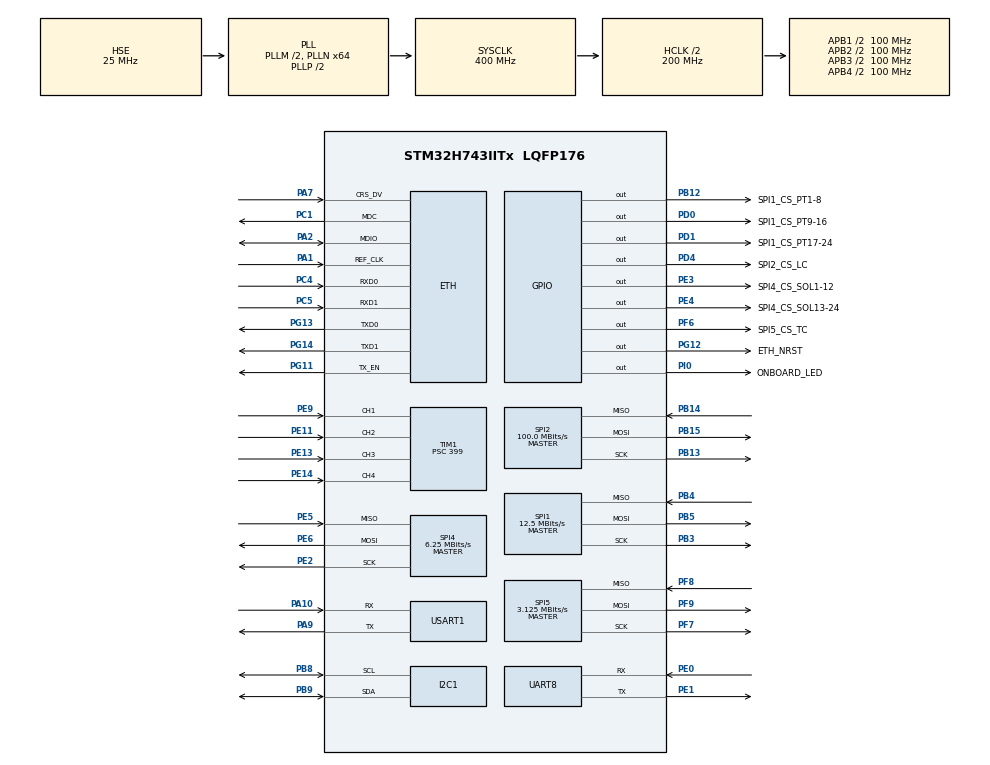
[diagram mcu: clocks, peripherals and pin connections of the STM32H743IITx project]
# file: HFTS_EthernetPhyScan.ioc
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CORTEX_M7.AccessPermission-Cortex_Memory_Protection_Unit_Region0_Settings=MPU_REGION_FULL_ACCESS
CORTEX_M7.AccessPermission-Cortex_Memory_Protection_Unit_Region1_Settings=MPU_REGION_FULL_ACCESS
CORTEX_M7.BaseAddress-Cortex_Memory_Protection_Unit_Region0_Settings=0x30000000
CORTEX_M7.BaseAddress-Cortex_Memory_Protection_Unit_Region1_Settings=0x30040000
CORTEX_M7.CPU_DCache=Enabled
CORTEX_M7.CPU_ICache=Enabled
CORTEX_M7.Enable-Cortex_Memory_Protection_Unit_Region0_Settings=MPU_REGION_ENABLE
CORTEX_M7.Enable-Cortex_Memory_Protection_Unit_Region1_Settings=MPU_REGION_ENABLE
CORTEX_M7.IsBufferable-Cortex_Memory_Protection_Unit_Region0_Settings=MPU_ACCESS_BUFFERABLE
CORTEX_M7.IsShareable-Cortex_Memory_Protection_Unit_Region1_Settings=MPU_ACCESS_SHAREABLE
CORTEX_M7.MPU_Control=MPU_PRIVILEGED_DEFAULT
CORTEX_M7.Size-Cortex_Memory_Protection_Unit_Region0_Settings=MPU_REGION_SIZE_256B
CORTEX_M7.Size-Cortex_Memory_Protection_Unit_Region1_Settings=MPU_REGION_SIZE_16KB
CORTEX_M7.TypeExtField-Cortex_Memory_Protection_Unit_Region1_Settings=MPU_TEX_LEVEL1
ETH.MACAddr=02\:12\:34\:56\:78\:9A
ETH.MediaInterface=HAL_ETH_RMII_MODE
I2C1.Timing=0x10C0ECFF
LWIP.BSP.number=1
LWIP.IP_ADDRESS=192.168.001.002
LWIP.LWIP_DHCP=0
LWIP.LWIP_MPU_COMPATIBLE=0
LWIP.MEM_SIZE=14000
LWIP.NETMASK_ADDRESS=255.255.255.000
LWIP.Version=v2.1.2_Cube
LWIP0.BSP.STBoard=false
LWIP0.BSP.api=BSP_COMPONENT_DRIVER
LWIP0.BSP.component=USER_PHY
LWIP0.BSP.instance=USER_PHY
LWIP0.BSP.name=Driver_PHY
LWIP0.BSP.semaphore=S_USER_PHY
LWIP0.BSP.solution=USER_PHY
Mcu.Family=STM32H7
Mcu.Name=STM32H743IITx
Mcu.Package=LQFP176
Mcu.UserConstants=I2C1_BUS_HZ,100000;TMP117_ADDRESS,0b1001000x
NVIC.PriorityGroup=NVIC_PRIORITYGROUP_4
NVIC.TIM1_CC_IRQn=true\:0\:0\:false\:false\:true\:true\:true\:true
PA1.Mode=RMII
PA1.Signal=ETH_REF_CLK
PA10.Mode=Asynchronous
PA10.Signal=USART1_RX
PA13\ (JTMS/SWDIO).Mode=Serial_Wire
PA13\ (JTMS/SWDIO).Signal=DEBUG_JTMS-SWDIO
PA14\ (JTCK/SWCLK).Mode=Serial_Wire
PA14\ (JTCK/SWCLK).Signal=DEBUG_JTCK-SWCLK
PA2.Mode=RMII
PA2.Signal=ETH_MDIO
PA7.Mode=RMII
PA7.Signal=ETH_CRS_DV
PA9.Mode=Asynchronous
PA9.Signal=USART1_TX
PB12.GPIO_Label=SPI1_CS_PT1-8
PB12.PinState=GPIO_PIN_SET
PB12.Signal=GPIO_Output
PB13.Mode=Full_Duplex_Master
PB13.Signal=SPI2_SCK
PB14.Mode=Full_Duplex_Master
PB14.Signal=SPI2_MISO
PB15.Mode=Full_Duplex_Master
PB15.Signal=SPI2_MOSI
PB3\ (JTDO/TRACESWO).Mode=Full_Duplex_Master
PB3\ (JTDO/TRACESWO).Signal=SPI1_SCK
PB4\ (NJTRST).Mode=Full_Duplex_Master
PB4\ (NJTRST).Signal=SPI1_MISO
PB5.Mode=Full_Duplex_Master
PB5.Signal=SPI1_MOSI
PB8.Mode=I2C
PB8.Signal=I2C1_SCL
PB9.Mode=I2C
PB9.Signal=I2C1_SDA
PC1.Mode=RMII
PC1.Signal=ETH_MDC
PC4.Mode=RMII
PC4.Signal=ETH_RXD0
PC5.Mode=RMII
PC5.Signal=ETH_RXD1
PD0.GPIO_Label=SPI1_CS_PT9-16
PD0.PinState=GPIO_PIN_SET
PD0.Signal=GPIO_Output
PD1.GPIO_Label=SPI1_CS_PT17-24
PD1.PinState=GPIO_PIN_SET
PD1.Signal=GPIO_Output
PD4.GPIO_Label=SPI2_CS_LC
PD4.PinState=GPIO_PIN_SET
PD4.Signal=GPIO_Output
PE0.Mode=Asynchronous
PE0.Signal=UART8_RX
PE1.Mode=Asynchronous
PE1.Signal=UART8_TX
PE11.Signal=S_TIM1_CH2
PE13.Signal=S_TIM1_CH3
PE14.Signal=S_TIM1_CH4
PE2.Mode=Full_Duplex_Master
PE2.Signal=SPI4_SCK
PE3.GPIO_Label=SPI4_CS_SOL1-12
PE3.PinState=GPIO_PIN_SET
PE3.Signal=GPIO_Output
PE4.GPIO_Label=SPI4_CS_SOL13-24
PE4.PinState=GPIO_PIN_SET
PE4.Signal=GPIO_Output
PE5.Mode=Full_Duplex_Master
PE5.Signal=SPI4_MISO
PE6.Mode=Full_Duplex_Master
PE6.Signal=SPI4_MOSI
PE9.Signal=S_TIM1_CH1
PF6.GPIO_Label=SPI5_CS_TC
PF6.PinState=GPIO_PIN_SET
PF6.Signal=GPIO_Output
PF7.Mode=Full_Duplex_Master
PF7.Signal=SPI5_SCK
PF8.Mode=Full_Duplex_Master
PF8.Signal=SPI5_MISO
PF9.Mode=Full_Duplex_Master
PF9.Signal=SPI5_MOSI
PG11.Mode=RMII
PG11.Signal=ETH_TX_EN
PG12.GPIO_Label=ETH_NRST
PG12.Signal=GPIO_Output
PG13.Mode=RMII
PG13.Signal=ETH_TXD0
PG14.Mode=RMII
PG14.Signal=ETH_TXD1
PH0-OSC_IN\ (PH0).Mode=HSE-External-Oscillator
PH0-OSC_IN\ (PH0).Signal=RCC_OSC_IN
PH1-OSC_OUT\ (PH1).Mode=HSE-External-Oscillator
PH1-OSC_OUT\ (PH1).Signal=RCC_OSC_OUT
PI0.GPIO_Label=ONBOARD_LED
PI0.Signal=GPIO_Output
ProjectManager.HeapSize=0x200
ProjectManager.StackSize=0x400
ProjectManager.TargetToolchain=STM32CubeIDE
RCC.ADCFreq_Value=50000000
RCC.APB1Freq_Value=100000000
RCC.APB2Freq_Value=100000000
RCC.APB3Freq_Value=100000000
RCC.APB4Freq_Value=100000000
RCC.CortexFreq_Value=400000000
RCC.D1PPRE=RCC_APB3_DIV2
RCC.D2PPRE1=RCC_APB1_DIV2
RCC.D2PPRE2=RCC_APB2_DIV2
RCC.D3PPRE=RCC_APB4_DIV2
RCC.DIVM1=2
RCC.DIVM2=2
RCC.DIVN1=64
RCC.DIVN2=16
RCC.DIVP2=4
RCC.DIVQ1=4
RCC.DIVQ2=4
RCC.HCLKFreq_Value=200000000
RCC.HPRE=RCC_HCLK_DIV2
RCC.PLL2FRACN=0
RCC.PLL3FRACN=0
RCC.PLLFRACN=0
RCC.PLLSourceVirtual=RCC_PLLSOURCE_HSE
RCC.SYSCLKFreq_VALUE=400000000
RCC.SYSCLKSource=RCC_SYSCLKSOURCE_PLLCLK
RCC.Spi45ClockSelection=RCC_SPI45CLKSOURCE_PLL2
RCC.USBFreq_Value=200000000
SH.S_TIM1_CH1.0=TIM1_CH1,Input_Capture1_from_TI1
SH.S_TIM1_CH2.0=TIM1_CH2,Input_Capture2_from_TI2
SH.S_TIM1_CH3.0=TIM1_CH3,Input_Capture3_from_TI3
SH.S_TIM1_CH4.0=TIM1_CH4,Input_Capture4_from_TI4
SPI1.BaudRatePrescaler=SPI_BAUDRATEPRESCALER_16
SPI1.CalculateBaudRate=12.5 MBits/s
SPI1.Direction=SPI_DIRECTION_2LINES
SPI1.Mode=SPI_MODE_MASTER
SPI1.VirtualType=VM_MASTER
SPI2.CalculateBaudRate=100.0 MBits/s
SPI2.Direction=SPI_DIRECTION_2LINES
SPI2.Mode=SPI_MODE_MASTER
SPI2.VirtualType=VM_MASTER
SPI4.BaudRatePrescaler=SPI_BAUDRATEPRESCALER_8
SPI4.CalculateBaudRate=6.25 MBits/s
SPI4.Direction=SPI_DIRECTION_2LINES
SPI4.Mode=SPI_MODE_MASTER
SPI4.VirtualType=VM_MASTER
SPI5.BaudRatePrescaler=SPI_BAUDRATEPRESCALER_16
SPI5.CalculateBaudRate=3.125 MBits/s
SPI5.Direction=SPI_DIRECTION_2LINES
SPI5.Mode=SPI_MODE_MASTER
SPI5.VirtualType=VM_MASTER
TIM1.Channel-Input_Capture1_from_TI1=TIM_CHANNEL_1
TIM1.Channel-Input_Capture2_from_TI2=TIM_CHANNEL_2
TIM1.Channel-Input_Capture3_from_TI3=TIM_CHANNEL_3
TIM1.Channel-Input_Capture4_from_TI4=TIM_CHANNEL_4
TIM1.ICFilter_CH1=2
TIM1.Prescaler=399
USART1.VirtualMode-Asynchronous=VM_ASYNC
VP_LWIP_VS_Enabled.Mode=Enabled
VP_MEMORYMAP_VS_MEMORYMAP.Mode=CurAppReg
VP_TIM1_VS_ClockSourceINT.Mode=Internal
board=custom

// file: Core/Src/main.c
/* USER CODE BEGIN Header */
/**
  ******************************************************************************
  * @file           : main.c
  * @brief          : Main program body
  ******************************************************************************
  * @attention
  *
  * Copyright (c) 2026 STMicroelectronics.
  * All rights reserved.
  *
  * This software is licensed under terms that can be found in the LICENSE file
  * in the root directory of this software component.
  * If no LICENSE file comes with this software, it is provided AS-IS.
  *
  ******************************************************************************
  */
/* USER CODE END Header */
#include "main.h"
#include "lwip.h"

I2C_HandleTypeDef hi2c1;

SPI_HandleTypeDef hspi1;
SPI_HandleTypeDef hspi2;
SPI_HandleTypeDef hspi4;
SPI_HandleTypeDef hspi5;

TIM_HandleTypeDef htim1;

UART_HandleTypeDef huart8;
UART_HandleTypeDef huart1;

/* USER CODE BEGIN PV */
ETH_HandleTypeDef heth_mdio_test;

typedef struct
{
  uint32_t init_status;
  uint32_t swr_timeout;
  uint32_t hclk_hz;
  uint32_t dmamr_after_swr_set;
  uint32_t dmamr_after_swr_wait;
  uint32_t macmdioar_after_clk_cfg;

  uint32_t candidate_mask;
  uint32_t ksz8081_mask;
  int32_t  first_candidate_addr;

  uint32_t reg2[32];
  uint32_t reg3[32];
  uint32_t reg17[32];
  uint32_t reg0[32];
  uint32_t reg1a[32];
  uint32_t reg1b[32];

  uint32_t reg1e[32];
  uint32_t reg1f[32];
  uint32_t stat1e[32];
  uint32_t stat1f[32];

  uint32_t stat2[32];
  uint32_t stat3[32];
  uint32_t stat17[32];
  uint32_t stat0[32];
  uint32_t stat1a[32];
  uint32_t stat1b[32];
} ETH_PHY_Debug_t;

volatile ETH_PHY_Debug_t gPhyDbg;

extern struct netif gnetif;
/* USER CODE END PV */

void SystemClock_Config(void);
void PeriphCommonClock_Config(void);
static void MPU_Config(void);
static void MX_GPIO_Init(void);
static void MX_TIM1_Init(void);
static void MX_I2C1_Init(void);
static void MX_SPI1_Init(void);
static void MX_SPI2_Init(void);
static void MX_SPI4_Init(void);
static void MX_SPI5_Init(void);
static void MX_UART8_Init(void);
static void MX_USART1_UART_Init(void);
/* USER CODE BEGIN PFP */
static void ETH_PHY_ResetPulse(void);
static HAL_StatusTypeDef ETH_MDIO_MinimalInit(void);
static void ETH_PHY_ScanAll(void);
/* USER CODE END PFP */

/* USER CODE BEGIN 0 */
static void ETH_PHY_ResetPulse(void)
{
  HAL_GPIO_WritePin(ETH_NRST_GPIO_Port, ETH_NRST_Pin, GPIO_PIN_RESET);
  HAL_Delay(2);   // comfortably longer than the PHY minimum reset pulse
  HAL_GPIO_WritePin(ETH_NRST_GPIO_Port, ETH_NRST_Pin, GPIO_PIN_SET);
  HAL_Delay(2);   // give straps / PHY state time to settle before MDIO access
}

static HAL_StatusTypeDef ETH_MDIO_MinimalInit(void)
{
  heth_mdio_test.Instance = ETH;
  heth_mdio_test.Init.MediaInterface = HAL_ETH_RMII_MODE;

  /* If your project has a real HAL_ETH_MspInit() in stm32h7xx_hal_msp.c,
     this should configure ETH GPIOs (MDC/MDIO/RMII pins) and clocks.
     If that function is still weak/empty, this call does nothing. */
  HAL_ETH_MspInit(&heth_mdio_test);

  __HAL_RCC_ETH1MAC_CLK_ENABLE();
  __HAL_RCC_ETH1TX_CLK_ENABLE();
  __HAL_RCC_ETH1RX_CLK_ENABLE();
  __HAL_RCC_SYSCFG_CLK_ENABLE();

  HAL_SYSCFG_ETHInterfaceSelect(SYSCFG_ETH_RMII);
  (void)SYSCFG->PMCR;

  /* Software reset of ETH MAC/DMA block */
  SET_BIT(ETH->DMAMR, ETH_DMAMR_SWR);
  gPhyDbg.dmamr_after_swr_set = ETH->DMAMR;

  uint32_t t0 = HAL_GetTick();
  while (READ_BIT(ETH->DMAMR, ETH_DMAMR_SWR) != 0U)
  {
    if ((HAL_GetTick() - t0) > 1000U)
    {
      gPhyDbg.swr_timeout = 1U;
      gPhyDbg.dmamr_after_swr_wait = ETH->DMAMR;
      return HAL_TIMEOUT;
    }
  }

  gPhyDbg.dmamr_after_swr_wait = ETH->DMAMR;
  gPhyDbg.hclk_hz = HAL_RCC_GetHCLKFreq();

  HAL_ETH_SetMDIOClockRange(&heth_mdio_test);
  gPhyDbg.macmdioar_after_clk_cfg = ETH->MACMDIOAR;

  return HAL_OK;
}

static void ETH_PHY_ScanAll(void)
{
  uint32_t val;
  uint32_t addr;

  gPhyDbg.first_candidate_addr = -1;
  gPhyDbg.candidate_mask = 0U;
  gPhyDbg.ksz8081_mask = 0U;

  for (addr = 0; addr < 32; addr++)
  {
    gPhyDbg.stat2[addr] = HAL_ETH_ReadPHYRegister(&heth_mdio_test, addr, 2, &val);
    gPhyDbg.reg2[addr] = val & 0xFFFFU;

    /* Only treat it as a real candidate if reg2 is sane */
    if ((gPhyDbg.stat2[addr] == HAL_OK) &&
        (gPhyDbg.reg2[addr] != 0x0000U) &&
        (gPhyDbg.reg2[addr] != 0xFFFFU))
    {
      gPhyDbg.candidate_mask |= (1UL << addr);

      if (gPhyDbg.first_candidate_addr < 0)
      {
        gPhyDbg.first_candidate_addr = (int32_t)addr;
      }

      if (gPhyDbg.reg2[addr] == 0x0022U)
      {
        gPhyDbg.ksz8081_mask |= (1UL << addr);
      }

      gPhyDbg.stat3[addr]  = HAL_ETH_ReadPHYRegister(&heth_mdio_test, addr, 3,  &val);
      gPhyDbg.reg3[addr]   = val & 0xFFFFU;

      gPhyDbg.stat17[addr] = HAL_ETH_ReadPHYRegister(&heth_mdio_test, addr, 17, &val);
      gPhyDbg.reg17[addr]  = val & 0xFFFFU;

      gPhyDbg.stat0[addr]  = HAL_ETH_ReadPHYRegister(&heth_mdio_test, addr, 0,  &val);
      gPhyDbg.reg0[addr]   = val & 0xFFFFU;

      /* Read BMSR twice */
      gPhyDbg.stat1a[addr] = HAL_ETH_ReadPHYRegister(&heth_mdio_test, addr, 1,  &val);
      gPhyDbg.reg1a[addr]  = val & 0xFFFFU;

      gPhyDbg.stat1b[addr] = HAL_ETH_ReadPHYRegister(&heth_mdio_test, addr, 1,  &val);
      gPhyDbg.reg1b[addr]  = val & 0xFFFFU;

      gPhyDbg.stat1e[addr] = HAL_ETH_ReadPHYRegister(&heth_mdio_test, addr, 0x1E, &val);
      gPhyDbg.reg1e[addr]  = val & 0xFFFFU;

      gPhyDbg.stat1f[addr] = HAL_ETH_ReadPHYRegister(&heth_mdio_test, addr, 0x1F, &val);
      gPhyDbg.reg1f[addr]  = val & 0xFFFFU;
    }
    else
    {
      gPhyDbg.stat3[addr]  = 0xFFFFFFFFU;
      gPhyDbg.stat17[addr] = 0xFFFFFFFFU;
      gPhyDbg.stat0[addr]  = 0xFFFFFFFFU;
      gPhyDbg.stat1a[addr] = 0xFFFFFFFFU;
      gPhyDbg.stat1b[addr] = 0xFFFFFFFFU;

      gPhyDbg.reg3[addr]   = 0U;
      gPhyDbg.reg17[addr]  = 0U;
      gPhyDbg.reg0[addr]   = 0U;
      gPhyDbg.reg1a[addr]  = 0U;
      gPhyDbg.reg1b[addr]  = 0U;
    }
  }
}
/* USER CODE END 0 */

int main(void)
{

  /* MPU Configuration--------------------------------------------------------*/
  MPU_Config();

  /* Enable the CPU Cache */

  /* Enable I-Cache---------------------------------------------------------*/
  //SCB_EnableICache();

  /* Enable D-Cache---------------------------------------------------------*/
  //SCB_EnableDCache();

  /* MCU Configuration--------------------------------------------------------*/

  /* Reset of all peripherals, Initializes the Flash interface and the Systick. */
  HAL_Init();

  /* Configure the system clock */
  SystemClock_Config();

  /* Configure the peripherals common clocks */
  PeriphCommonClock_Config();

  /* Initialize all configured peripherals */
  MX_GPIO_Init();
  MX_TIM1_Init();
  MX_I2C1_Init();
  MX_SPI1_Init();
  MX_SPI2_Init();
  MX_SPI4_Init();
  MX_SPI5_Init();
  MX_UART8_Init();
  MX_USART1_UART_Init();
  /* USER CODE BEGIN 2 */
  /* USER CODE BEGIN 2 */

  /* Keep PHY in reset until all basic GPIO/clock init is done */
  ETH_PHY_ResetPulse();

  MX_LWIP_Init();

  gPhyDbg.init_status = ETH_MDIO_MinimalInit();

  if (gPhyDbg.init_status == HAL_OK)
  {
    ETH_PHY_ScanAll();
  }

  /* USER CODE END 2 */
  /* USER CODE END 2 */

  /* Infinite loop */
  while (1)
  {

    /* USER CODE BEGIN 3 */

	  ethernetif_input(&gnetif);
	  sys_check_timeouts();
	  ethernet_link_check_state(&gnetif);
	  HAL_Delay(1);
  }
  /* USER CODE END 3 */
}

void SystemClock_Config(void)
{
  RCC_OscInitTypeDef RCC_OscInitStruct = {0};
  RCC_ClkInitTypeDef RCC_ClkInitStruct = {0};

  /** Supply configuration update enable
  */
  HAL_PWREx_ConfigSupply(PWR_LDO_SUPPLY);

  /** Configure the main internal regulator output voltage
  */
  __HAL_PWR_VOLTAGESCALING_CONFIG(PWR_REGULATOR_VOLTAGE_SCALE1);

  while(!__HAL_PWR_GET_FLAG(PWR_FLAG_VOSRDY)) {}

  /** Initializes the RCC Oscillators according to the specified parameters
  * in the RCC_OscInitTypeDef structure.
  */
  RCC_OscInitStruct.OscillatorType = RCC_OSCILLATORTYPE_HSE;
  RCC_OscInitStruct.HSEState = RCC_HSE_ON;
  RCC_OscInitStruct.PLL.PLLState = RCC_PLL_ON;
  RCC_OscInitStruct.PLL.PLLSource = RCC_PLLSOURCE_HSE;
  RCC_OscInitStruct.PLL.PLLM = 2;
  RCC_OscInitStruct.PLL.PLLN = 64;
  RCC_OscInitStruct.PLL.PLLP = 2;
  RCC_OscInitStruct.PLL.PLLQ = 4;
  RCC_OscInitStruct.PLL.PLLR = 2;
  RCC_OscInitStruct.PLL.PLLRGE = RCC_PLL1VCIRANGE_3;
  RCC_OscInitStruct.PLL.PLLVCOSEL = RCC_PLL1VCOWIDE;
  RCC_OscInitStruct.PLL.PLLFRACN = 0;
  if (HAL_RCC_OscConfig(&RCC_OscInitStruct) != HAL_OK)
  {
    Error_Handler();
  }

  /** Initializes the CPU, AHB and APB buses clocks
  */
  RCC_ClkInitStruct.ClockType = RCC_CLOCKTYPE_HCLK|RCC_CLOCKTYPE_SYSCLK
                              |RCC_CLOCKTYPE_PCLK1|RCC_CLOCKTYPE_PCLK2
                              |RCC_CLOCKTYPE_D3PCLK1|RCC_CLOCKTYPE_D1PCLK1;
  RCC_ClkInitStruct.SYSCLKSource = RCC_SYSCLKSOURCE_PLLCLK;
  RCC_ClkInitStruct.SYSCLKDivider = RCC_SYSCLK_DIV1;
  RCC_ClkInitStruct.AHBCLKDivider = RCC_HCLK_DIV2;
  RCC_ClkInitStruct.APB3CLKDivider = RCC_APB3_DIV2;
  RCC_ClkInitStruct.APB1CLKDivider = RCC_APB1_DIV2;
  RCC_ClkInitStruct.APB2CLKDivider = RCC_APB2_DIV2;
  RCC_ClkInitStruct.APB4CLKDivider = RCC_APB4_DIV2;

  if (HAL_RCC_ClockConfig(&RCC_ClkInitStruct, FLASH_LATENCY_2) != HAL_OK)
  {
    Error_Handler();
  }
}

void PeriphCommonClock_Config(void)
{
  RCC_PeriphCLKInitTypeDef PeriphClkInitStruct = {0};

  /** Initializes the peripherals clock
  */
  PeriphClkInitStruct.PeriphClockSelection = RCC_PERIPHCLK_SPI4|RCC_PERIPHCLK_SPI5;
  PeriphClkInitStruct.PLL2.PLL2M = 2;
  PeriphClkInitStruct.PLL2.PLL2N = 16;
  PeriphClkInitStruct.PLL2.PLL2P = 4;
  PeriphClkInitStruct.PLL2.PLL2Q = 4;
  PeriphClkInitStruct.PLL2.PLL2R = 2;
  PeriphClkInitStruct.PLL2.PLL2RGE = RCC_PLL2VCIRANGE_3;
  PeriphClkInitStruct.PLL2.PLL2VCOSEL = RCC_PLL2VCOWIDE;
  PeriphClkInitStruct.PLL2.PLL2FRACN = 0;
  PeriphClkInitStruct.Spi45ClockSelection = RCC_SPI45CLKSOURCE_PLL2;
  if (HAL_RCCEx_PeriphCLKConfig(&PeriphClkInitStruct) != HAL_OK)
  {
    Error_Handler();
  }
}

static void MX_I2C1_Init(void)
{

  hi2c1.Instance = I2C1;
  hi2c1.Init.Timing = 0x10C0ECFF;
  hi2c1.Init.OwnAddress1 = 0;
  hi2c1.Init.AddressingMode = I2C_ADDRESSINGMODE_7BIT;
  hi2c1.Init.DualAddressMode = I2C_DUALADDRESS_DISABLE;
  hi2c1.Init.OwnAddress2 = 0;
  hi2c1.Init.OwnAddress2Masks = I2C_OA2_NOMASK;
  hi2c1.Init.GeneralCallMode = I2C_GENERALCALL_DISABLE;
  hi2c1.Init.NoStretchMode = I2C_NOSTRETCH_DISABLE;
  if (HAL_I2C_Init(&hi2c1) != HAL_OK)
  {
    Error_Handler();
  }

  /** Configure Analogue filter
  */
  if (HAL_I2CEx_ConfigAnalogFilter(&hi2c1, I2C_ANALOGFILTER_ENABLE) != HAL_OK)
  {
    Error_Handler();
  }

  /** Configure Digital filter
  */
  if (HAL_I2CEx_ConfigDigitalFilter(&hi2c1, 0) != HAL_OK)
  {
    Error_Handler();
  }

}

static void MX_SPI1_Init(void)
{

  /* SPI1 parameter configuration*/
  hspi1.Instance = SPI1;
  hspi1.Init.Mode = SPI_MODE_MASTER;
  hspi1.Init.Direction = SPI_DIRECTION_2LINES;
  hspi1.Init.DataSize = SPI_DATASIZE_4BIT;
  hspi1.Init.CLKPolarity = SPI_POLARITY_LOW;
  hspi1.Init.CLKPhase = SPI_PHASE_1EDGE;
  hspi1.Init.NSS = SPI_NSS_SOFT;
  hspi1.Init.BaudRatePrescaler = SPI_BAUDRATEPRESCALER_16;
  hspi1.Init.FirstBit = SPI_FIRSTBIT_MSB;
  hspi1.Init.TIMode = SPI_TIMODE_DISABLE;
  hspi1.Init.CRCCalculation = SPI_CRCCALCULATION_DISABLE;
  hspi1.Init.CRCPolynomial = 0x0;
  hspi1.Init.NSSPMode = SPI_NSS_PULSE_ENABLE;
  hspi1.Init.NSSPolarity = SPI_NSS_POLARITY_LOW;
  hspi1.Init.FifoThreshold = SPI_FIFO_THRESHOLD_01DATA;
  hspi1.Init.TxCRCInitializationPattern = SPI_CRC_INITIALIZATION_ALL_ZERO_PATTERN;
  hspi1.Init.RxCRCInitializationPattern = SPI_CRC_INITIALIZATION_ALL_ZERO_PATTERN;
  hspi1.Init.MasterSSIdleness = SPI_MASTER_SS_IDLENESS_00CYCLE;
  hspi1.Init.MasterInterDataIdleness = SPI_MASTER_INTERDATA_IDLENESS_00CYCLE;
  hspi1.Init.MasterReceiverAutoSusp = SPI_MASTER_RX_AUTOSUSP_DISABLE;
  hspi1.Init.MasterKeepIOState = SPI_MASTER_KEEP_IO_STATE_DISABLE;
  hspi1.Init.IOSwap = SPI_IO_SWAP_DISABLE;
  if (HAL_SPI_Init(&hspi1) != HAL_OK)
  {
    Error_Handler();
  }

}

static void MX_SPI2_Init(void)
{

  /* SPI2 parameter configuration*/
  hspi2.Instance = SPI2;
  hspi2.Init.Mode = SPI_MODE_MASTER;
  hspi2.Init.Direction = SPI_DIRECTION_2LINES;
  hspi2.Init.DataSize = SPI_DATASIZE_4BIT;
  hspi2.Init.CLKPolarity = SPI_POLARITY_LOW;
  hspi2.Init.CLKPhase = SPI_PHASE_1EDGE;
  hspi2.Init.NSS = SPI_NSS_SOFT;
  hspi2.Init.BaudRatePrescaler = SPI_BAUDRATEPRESCALER_2;
  hspi2.Init.FirstBit = SPI_FIRSTBIT_MSB;
  hspi2.Init.TIMode = SPI_TIMODE_DISABLE;
  hspi2.Init.CRCCalculation = SPI_CRCCALCULATION_DISABLE;
  hspi2.Init.CRCPolynomial = 0x0;
  hspi2.Init.NSSPMode = SPI_NSS_PULSE_ENABLE;
  hspi2.Init.NSSPolarity = SPI_NSS_POLARITY_LOW;
  hspi2.Init.FifoThreshold = SPI_FIFO_THRESHOLD_01DATA;
  hspi2.Init.TxCRCInitializationPattern = SPI_CRC_INITIALIZATION_ALL_ZERO_PATTERN;
  hspi2.Init.RxCRCInitializationPattern = SPI_CRC_INITIALIZATION_ALL_ZERO_PATTERN;
  hspi2.Init.MasterSSIdleness = SPI_MASTER_SS_IDLENESS_00CYCLE;
  hspi2.Init.MasterInterDataIdleness = SPI_MASTER_INTERDATA_IDLENESS_00CYCLE;
  hspi2.Init.MasterReceiverAutoSusp = SPI_MASTER_RX_AUTOSUSP_DISABLE;
  hspi2.Init.MasterKeepIOState = SPI_MASTER_KEEP_IO_STATE_DISABLE;
  hspi2.Init.IOSwap = SPI_IO_SWAP_DISABLE;
  if (HAL_SPI_Init(&hspi2) != HAL_OK)
  {
    Error_Handler();
  }

}

static void MX_SPI4_Init(void)
{

  /* SPI4 parameter configuration*/
  hspi4.Instance = SPI4;
  hspi4.Init.Mode = SPI_MODE_MASTER;
  hspi4.Init.Direction = SPI_DIRECTION_2LINES;
  hspi4.Init.DataSize = SPI_DATASIZE_4BIT;
  hspi4.Init.CLKPolarity = SPI_POLARITY_LOW;
  hspi4.Init.CLKPhase = SPI_PHASE_1EDGE;
  hspi4.Init.NSS = SPI_NSS_SOFT;
  hspi4.Init.BaudRatePrescaler = SPI_BAUDRATEPRESCALER_8;
  hspi4.Init.FirstBit = SPI_FIRSTBIT_MSB;
  hspi4.Init.TIMode = SPI_TIMODE_DISABLE;
  hspi4.Init.CRCCalculation = SPI_CRCCALCULATION_DISABLE;
  hspi4.Init.CRCPolynomial = 0x0;
  hspi4.Init.NSSPMode = SPI_NSS_PULSE_ENABLE;
  hspi4.Init.NSSPolarity = SPI_NSS_POLARITY_LOW;
  hspi4.Init.FifoThreshold = SPI_FIFO_THRESHOLD_01DATA;
  hspi4.Init.TxCRCInitializationPattern = SPI_CRC_INITIALIZATION_ALL_ZERO_PATTERN;
  hspi4.Init.RxCRCInitializationPattern = SPI_CRC_INITIALIZATION_ALL_ZERO_PATTERN;
  hspi4.Init.MasterSSIdleness = SPI_MASTER_SS_IDLENESS_00CYCLE;
  hspi4.Init.MasterInterDataIdleness = SPI_MASTER_INTERDATA_IDLENESS_00CYCLE;
  hspi4.Init.MasterReceiverAutoSusp = SPI_MASTER_RX_AUTOSUSP_DISABLE;
  hspi4.Init.MasterKeepIOState = SPI_MASTER_KEEP_IO_STATE_DISABLE;
  hspi4.Init.IOSwap = SPI_IO_SWAP_DISABLE;
  if (HAL_SPI_Init(&hspi4) != HAL_OK)
  {
    Error_Handler();
  }

}

static void MX_SPI5_Init(void)
{

  /* SPI5 parameter configuration*/
  hspi5.Instance = SPI5;
  hspi5.Init.Mode = SPI_MODE_MASTER;
  hspi5.Init.Direction = SPI_DIRECTION_2LINES;
  hspi5.Init.DataSize = SPI_DATASIZE_4BIT;
  hspi5.Init.CLKPolarity = SPI_POLARITY_LOW;
  hspi5.Init.CLKPhase = SPI_PHASE_1EDGE;
  hspi5.Init.NSS = SPI_NSS_SOFT;
  hspi5.Init.BaudRatePrescaler = SPI_BAUDRATEPRESCALER_16;
  hspi5.Init.FirstBit = SPI_FIRSTBIT_MSB;
  hspi5.Init.TIMode = SPI_TIMODE_DISABLE;
  hspi5.Init.CRCCalculation = SPI_CRCCALCULATION_DISABLE;
  hspi5.Init.CRCPolynomial = 0x0;
  hspi5.Init.NSSPMode = SPI_NSS_PULSE_ENABLE;
  hspi5.Init.NSSPolarity = SPI_NSS_POLARITY_LOW;
  hspi5.Init.FifoThreshold = SPI_FIFO_THRESHOLD_01DATA;
  hspi5.Init.TxCRCInitializationPattern = SPI_CRC_INITIALIZATION_ALL_ZERO_PATTERN;
  hspi5.Init.RxCRCInitializationPattern = SPI_CRC_INITIALIZATION_ALL_ZERO_PATTERN;
  hspi5.Init.MasterSSIdleness = SPI_MASTER_SS_IDLENESS_00CYCLE;
  hspi5.Init.MasterInterDataIdleness = SPI_MASTER_INTERDATA_IDLENESS_00CYCLE;
  hspi5.Init.MasterReceiverAutoSusp = SPI_MASTER_RX_AUTOSUSP_DISABLE;
  hspi5.Init.MasterKeepIOState = SPI_MASTER_KEEP_IO_STATE_DISABLE;
  hspi5.Init.IOSwap = SPI_IO_SWAP_DISABLE;
  if (HAL_SPI_Init(&hspi5) != HAL_OK)
  {
    Error_Handler();
  }

}

static void MX_TIM1_Init(void)
{

  TIM_ClockConfigTypeDef sClockSourceConfig = {0};
  TIM_MasterConfigTypeDef sMasterConfig = {0};
  TIM_IC_InitTypeDef sConfigIC = {0};

  htim1.Instance = TIM1;
  htim1.Init.Prescaler = 399;
  htim1.Init.CounterMode = TIM_COUNTERMODE_UP;
  htim1.Init.Period = 65535;
  htim1.Init.ClockDivision = TIM_CLOCKDIVISION_DIV1;
  htim1.Init.RepetitionCounter = 0;
  htim1.Init.AutoReloadPreload = TIM_AUTORELOAD_PRELOAD_DISABLE;
  if (HAL_TIM_Base_Init(&htim1) != HAL_OK)
  {
    Error_Handler();
  }
  sClockSourceConfig.ClockSource = TIM_CLOCKSOURCE_INTERNAL;
  if (HAL_TIM_ConfigClockSource(&htim1, &sClockSourceConfig) != HAL_OK)
  {
    Error_Handler();
  }
  if (HAL_TIM_IC_Init(&htim1) != HAL_OK)
  {
    Error_Handler();
  }
  sMasterConfig.MasterOutputTrigger = TIM_TRGO_RESET;
  sMasterConfig.MasterOutputTrigger2 = TIM_TRGO2_RESET;
  sMasterConfig.MasterSlaveMode = TIM_MASTERSLAVEMODE_DISABLE;
  if (HAL_TIMEx_MasterConfigSynchronization(&htim1, &sMasterConfig) != HAL_OK)
  {
    Error_Handler();
  }
  sConfigIC.ICPolarity = TIM_INPUTCHANNELPOLARITY_RISING;
  sConfigIC.ICSelection = TIM_ICSELECTION_DIRECTTI;
  sConfigIC.ICPrescaler = TIM_ICPSC_DIV1;
  sConfigIC.ICFilter = 2;
  if (HAL_TIM_IC_ConfigChannel(&htim1, &sConfigIC, TIM_CHANNEL_1) != HAL_OK)
  {
    Error_Handler();
  }
  sConfigIC.ICFilter = 0;
  if (HAL_TIM_IC_ConfigChannel(&htim1, &sConfigIC, TIM_CHANNEL_2) != HAL_OK)
  {
    Error_Handler();
  }
  if (HAL_TIM_IC_ConfigChannel(&htim1, &sConfigIC, TIM_CHANNEL_3) != HAL_OK)
  {
    Error_Handler();
  }
  if (HAL_TIM_IC_ConfigChannel(&htim1, &sConfigIC, TIM_CHANNEL_4) != HAL_OK)
  {
    Error_Handler();
  }

}

static void MX_UART8_Init(void)
{

  huart8.Instance = UART8;
  huart8.Init.BaudRate = 115200;
  huart8.Init.WordLength = UART_WORDLENGTH_8B;
  huart8.Init.StopBits = UART_STOPBITS_1;
  huart8.Init.Parity = UART_PARITY_NONE;
  huart8.Init.Mode = UART_MODE_TX_RX;
  huart8.Init.HwFlowCtl = UART_HWCONTROL_NONE;
  huart8.Init.OverSampling = UART_OVERSAMPLING_16;
  huart8.Init.OneBitSampling = UART_ONE_BIT_SAMPLE_DISABLE;
  huart8.Init.ClockPrescaler = UART_PRESCALER_DIV1;
  huart8.AdvancedInit.AdvFeatureInit = UART_ADVFEATURE_NO_INIT;
  if (HAL_UART_Init(&huart8) != HAL_OK)
  {
    Error_Handler();
  }
  if (HAL_UARTEx_SetTxFifoThreshold(&huart8, UART_TXFIFO_THRESHOLD_1_8) != HAL_OK)
  {
    Error_Handler();
  }
  if (HAL_UARTEx_SetRxFifoThreshold(&huart8, UART_RXFIFO_THRESHOLD_1_8) != HAL_OK)
  {
    Error_Handler();
  }
  if (HAL_UARTEx_DisableFifoMode(&huart8) != HAL_OK)
  {
    Error_Handler();
  }

}

static void MX_USART1_UART_Init(void)
{

  huart1.Instance = USART1;
  huart1.Init.BaudRate = 115200;
  huart1.Init.WordLength = UART_WORDLENGTH_8B;
  huart1.Init.StopBits = UART_STOPBITS_1;
  huart1.Init.Parity = UART_PARITY_NONE;
  huart1.Init.Mode = UART_MODE_TX_RX;
  huart1.Init.HwFlowCtl = UART_HWCONTROL_NONE;
  huart1.Init.OverSampling = UART_OVERSAMPLING_16;
  huart1.Init.OneBitSampling = UART_ONE_BIT_SAMPLE_DISABLE;
  huart1.Init.ClockPrescaler = UART_PRESCALER_DIV1;
  huart1.AdvancedInit.AdvFeatureInit = UART_ADVFEATURE_NO_INIT;
  if (HAL_UART_Init(&huart1) != HAL_OK)
  {
    Error_Handler();
  }
  if (HAL_UARTEx_SetTxFifoThreshold(&huart1, UART_TXFIFO_THRESHOLD_1_8) != HAL_OK)
  {
    Error_Handler();
  }
  if (HAL_UARTEx_SetRxFifoThreshold(&huart1, UART_RXFIFO_THRESHOLD_1_8) != HAL_OK)
  {
    Error_Handler();
  }
  if (HAL_UARTEx_DisableFifoMode(&huart1) != HAL_OK)
  {
    Error_Handler();
  }

}

static void MX_GPIO_Init(void)
{
  GPIO_InitTypeDef GPIO_InitStruct = {0};

  /* GPIO Ports Clock Enable */
  __HAL_RCC_GPIOE_CLK_ENABLE();
  __HAL_RCC_GPIOF_CLK_ENABLE();
  __HAL_RCC_GPIOH_CLK_ENABLE();
  __HAL_RCC_GPIOC_CLK_ENABLE();
  __HAL_RCC_GPIOA_CLK_ENABLE();
  __HAL_RCC_GPIOB_CLK_ENABLE();
  __HAL_RCC_GPIOI_CLK_ENABLE();
  __HAL_RCC_GPIOD_CLK_ENABLE();
  __HAL_RCC_GPIOG_CLK_ENABLE();

  /*Configure GPIO pin Output Level */
  HAL_GPIO_WritePin(GPIOE, SPI4_CS_SOL1_12_Pin|SPI4_CS_SOL13_24_Pin, GPIO_PIN_SET);

  /*Configure GPIO pin Output Level */
  HAL_GPIO_WritePin(SPI5_CS_TC_GPIO_Port, SPI5_CS_TC_Pin, GPIO_PIN_SET);

  /*Configure GPIO pin Output Level */
  HAL_GPIO_WritePin(SPI1_CS_PT1_8_GPIO_Port, SPI1_CS_PT1_8_Pin, GPIO_PIN_SET);

  /*Configure GPIO pin Output Level */
  HAL_GPIO_WritePin(ONBOARD_LED_GPIO_Port, ONBOARD_LED_Pin, GPIO_PIN_RESET);

  /*Configure GPIO pin Output Level */
  HAL_GPIO_WritePin(GPIOD, SPI1_CS_PT9_16_Pin|SPI1_CS_PT17_24_Pin|SPI2_CS_LC_Pin, GPIO_PIN_SET);

  /*Configure GPIO pin Output Level */
  HAL_GPIO_WritePin(ETH_NRST_GPIO_Port, ETH_NRST_Pin, GPIO_PIN_RESET);

  /*Configure GPIO pins : SPI4_CS_SOL1_12_Pin SPI4_CS_SOL13_24_Pin */
  GPIO_InitStruct.Pin = SPI4_CS_SOL1_12_Pin|SPI4_CS_SOL13_24_Pin;
  GPIO_InitStruct.Mode = GPIO_MODE_OUTPUT_PP;
  GPIO_InitStruct.Pull = GPIO_NOPULL;
  GPIO_InitStruct.Speed = GPIO_SPEED_FREQ_LOW;
  HAL_GPIO_Init(GPIOE, &GPIO_InitStruct);

  /*Configure GPIO pin : SPI5_CS_TC_Pin */
  GPIO_InitStruct.Pin = SPI5_CS_TC_Pin;
  GPIO_InitStruct.Mode = GPIO_MODE_OUTPUT_PP;
  GPIO_InitStruct.Pull = GPIO_NOPULL;
  GPIO_InitStruct.Speed = GPIO_SPEED_FREQ_LOW;
  HAL_GPIO_Init(SPI5_CS_TC_GPIO_Port, &GPIO_InitStruct);

  /*Configure GPIO pin : SPI1_CS_PT1_8_Pin */
  GPIO_InitStruct.Pin = SPI1_CS_PT1_8_Pin;
  GPIO_InitStruct.Mode = GPIO_MODE_OUTPUT_PP;
  GPIO_InitStruct.Pull = GPIO_NOPULL;
  GPIO_InitStruct.Speed = GPIO_SPEED_FREQ_LOW;
  HAL_GPIO_Init(SPI1_CS_PT1_8_GPIO_Port, &GPIO_InitStruct);

  /*Configure GPIO pin : ONBOARD_LED_Pin */
  GPIO_InitStruct.Pin = ONBOARD_LED_Pin;
  GPIO_InitStruct.Mode = GPIO_MODE_OUTPUT_PP;
  GPIO_InitStruct.Pull = GPIO_NOPULL;
  GPIO_InitStruct.Speed = GPIO_SPEED_FREQ_LOW;
  HAL_GPIO_Init(ONBOARD_LED_GPIO_Port, &GPIO_InitStruct);

  /*Configure GPIO pins : SPI1_CS_PT9_16_Pin SPI1_CS_PT17_24_Pin SPI2_CS_LC_Pin */
  GPIO_InitStruct.Pin = SPI1_CS_PT9_16_Pin|SPI1_CS_PT17_24_Pin|SPI2_CS_LC_Pin;
  GPIO_InitStruct.Mode = GPIO_MODE_OUTPUT_PP;
  GPIO_InitStruct.Pull = GPIO_NOPULL;
  GPIO_InitStruct.Speed = GPIO_SPEED_FREQ_LOW;
  HAL_GPIO_Init(GPIOD, &GPIO_InitStruct);

  /*Configure GPIO pin : ETH_NRST_Pin */
  GPIO_InitStruct.Pin = ETH_NRST_Pin;
  GPIO_InitStruct.Mode = GPIO_MODE_OUTPUT_PP;
  GPIO_InitStruct.Pull = GPIO_NOPULL;
  GPIO_InitStruct.Speed = GPIO_SPEED_FREQ_LOW;
  HAL_GPIO_Init(ETH_NRST_GPIO_Port, &GPIO_InitStruct);

}

 /* MPU Configuration */

void MPU_Config(void)
{
  MPU_Region_InitTypeDef MPU_InitStruct = {0};

  /* Disables the MPU */
  HAL_MPU_Disable();

  /** Initializes and configures the Region and the memory to be protected
  */
  MPU_InitStruct.Enable = MPU_REGION_ENABLE;
  MPU_InitStruct.Number = MPU_REGION_NUMBER0;
  MPU_InitStruct.BaseAddress = 0x30000000;
  MPU_InitStruct.Size = MPU_REGION_SIZE_256B;
  MPU_InitStruct.SubRegionDisable = 0x0;
  MPU_InitStruct.TypeExtField = MPU_TEX_LEVEL0;
  MPU_InitStruct.AccessPermission = MPU_REGION_FULL_ACCESS;
  MPU_InitStruct.DisableExec = MPU_INSTRUCTION_ACCESS_ENABLE;
  MPU_InitStruct.IsShareable = MPU_ACCESS_NOT_SHAREABLE;
  MPU_InitStruct.IsCacheable = MPU_ACCESS_NOT_CACHEABLE;
  MPU_InitStruct.IsBufferable = MPU_ACCESS_BUFFERABLE;

  HAL_MPU_ConfigRegion(&MPU_InitStruct);

  /** Initializes and configures the Region and the memory to be protected
  */
  MPU_InitStruct.Number = MPU_REGION_NUMBER1;
  MPU_InitStruct.BaseAddress = 0x30040000;
  MPU_InitStruct.Size = MPU_REGION_SIZE_32KB;
  MPU_InitStruct.TypeExtField = MPU_TEX_LEVEL1;
  MPU_InitStruct.IsShareable = MPU_ACCESS_SHAREABLE;
  MPU_InitStruct.IsBufferable = MPU_ACCESS_NOT_BUFFERABLE;

  HAL_MPU_ConfigRegion(&MPU_InitStruct);
  /* Enables the MPU */
  HAL_MPU_Enable(MPU_PRIVILEGED_DEFAULT);

}

void Error_Handler(void)
{
  __disable_irq();
  while (1)
  {
  }
}
